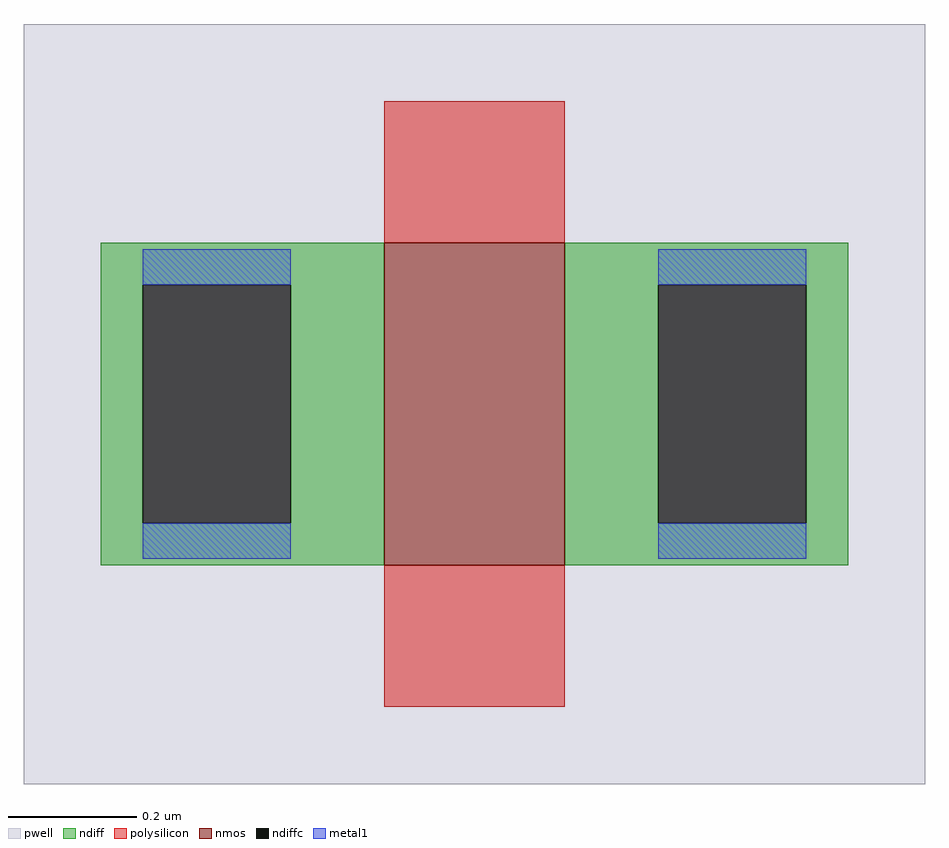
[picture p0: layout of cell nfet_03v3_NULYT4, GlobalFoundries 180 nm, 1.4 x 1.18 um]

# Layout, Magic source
magic
tech gf180mcuC
magscale 1 10
<< pwell >>
rect -140 -118 140 118
<< nmos >>
rect -28 -50 28 50
<< ndiff >>
rect -116 37 -28 50
rect -116 -37 -103 37
rect -57 -37 -28 37
rect -116 -50 -28 -37
rect 28 37 116 50
rect 28 -37 57 37
rect 103 -37 116 37
rect 28 -50 116 -37
<< ndiffc >>
rect -103 -37 -57 37
rect 57 -37 103 37
<< polysilicon >>
rect -28 50 28 94
rect -28 -94 28 -50
<< metal1 >>
rect -103 37 -57 48
rect -103 -48 -57 -37
rect 57 37 103 48
rect 57 -48 103 -37
<< properties >>
string gencell nfet_03v3
string library gf180mcu
string parameters w 0.5 l 0.280 m 1 nf 1 diffcov 100 polycov 100 guard 0 glc 0 grc 0 gtc 0 gbc 0 tbcov 100 rlcov 100 topc 0 botc 0 poverlap 0 doverlap 1 lmin 0.28 wmin 0.22 full_metal 0 compatible {nfet_03v3 nfet_06v0 nfet_06v0_nvt}
<< end >>
